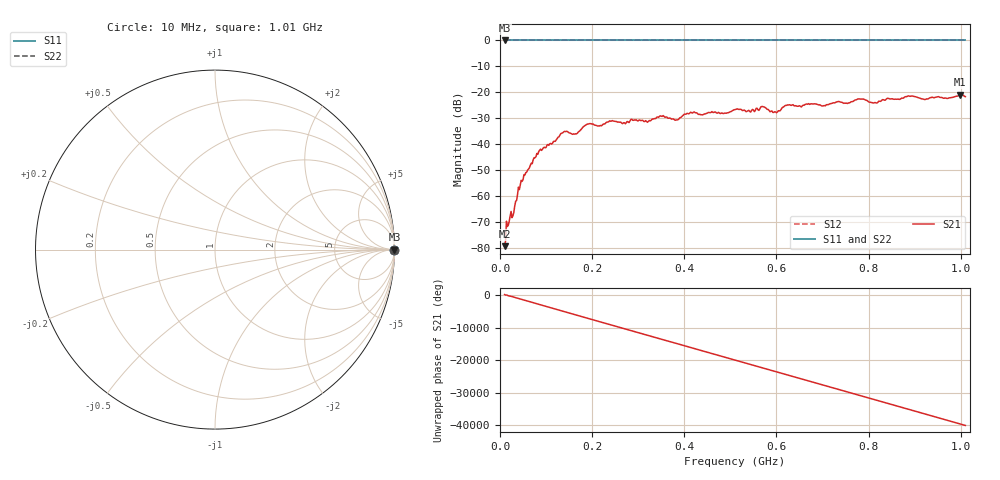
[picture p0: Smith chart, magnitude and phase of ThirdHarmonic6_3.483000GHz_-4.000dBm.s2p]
! 8/17/2025 11:19:50 AM
! C:\ANRITSUVNA\TEMP\TEMP.S2P
! CHANNEL.1
! TR.MEASUREMENT
! RAW.DATA
! RF.CORRECTION.OFF
! AVERAGING.OFF
! IF.BANDWIDTH: 5KHZ
! SWEEPTYPE:  FREQ.SWEEP(Linear)
! Reference Plane Port Info
! PORT:  PORT1  PORT2
! DISTANCE:  0  m  0  m
! TIME:  0  s  0  s
! PHASE.OFFSET:  0  deg.  0  deg.
! LOSS:  0  dB  0  dB
! REF.LOSS:  0  dB  0  dB
! REF.FREQ:  0  Hz  0  Hz
! Power Info
! POWER:  -20  dBm  -20  dBm
! EFF.POWER:  -20  dBm  -20  dBm
! SOURCE.ATTEN:  0  dB  0  dB
! TEST.ATTEN:  0  dB  0  dB
# GHZ S RI R 50.0
! FREQ.GHZ  S11RE  S11IM  S21RE  S21IM  S12RE  S12IM  S22RE  S22IM
!; PortSelection: Port_12
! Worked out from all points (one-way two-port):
!   501 points, 10 MHz to 1.01 GHz, reference 50 ohm
!   highest |S21| = -20.97 dB at 998 MHz (marker M1); lowest = -79.4 dB at 10 MHz (marker M2)
!   lowest |S11| = 0.0 dB at 10 MHz (marker M3)
!   |S11| at or under -10 dB: nowhere
!   |S22| runs from 0.0 to 0.0 dB; largest |S21 - S12| = 1.1
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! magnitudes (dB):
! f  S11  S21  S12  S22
! 10 MHz  0.0  -79.4  0.0  0.0
! 18 MHz  0.0  -71.3  0.0  0.0
! 30 MHz  0.0  -66.4  0.0  0.0
! 44 MHz  0.0  -55.8  0.0  0.0
! 76 MHz  0.0  -45.3  0.0  0.0
! 136 MHz  0.0  -35.6  0.0  0.0
! 162 MHz  0.0  -36.2  0.0  0.0
! 178 MHz  0.0  -33.9  0.0  0.0
! 192 MHz  0.0  -32.2  0.0  0.0
! 322 MHz  0.0  -31.2  0.0  0.0
! 344 MHz  0.0  -29.6  0.0  0.0
! 384 MHz  0.0  -30.7  0.0  0.0
! 418 MHz  0.0  -28.0  0.0  0.0
! 510 MHz  0.0  -26.7  0.0  0.0
! 570 MHz  0.0  -25.5  0.0  0.0
! 598 MHz  0.0  -27.6  0.0  0.0
! 624 MHz  0.0  -24.9  0.0  0.0
! 678 MHz  0.0  -24.5  0.0  0.0
! 814 MHz  0.0  -23.9  0.0  0.0
! 844 MHz  0.0  -22.4  0.0  0.0
! 998 MHz  0.0  -21.0  0.0  0.0
! 1.01 GHz  0.0  -21.7  0.0  0.0
